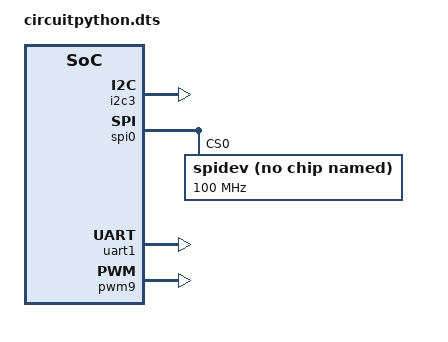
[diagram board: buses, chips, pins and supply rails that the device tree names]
/dts-v1/;
/plugin/;

/ {
	fragment@0 {
		target = <&i2c3>;

		__overlay__ {
			status = "okay";
		};
	};

	fragment@1 {
		target = <&spi0>;

		__overlay__ {
			status = "okay";
			#address-cells = <1>;
			#size-cells = <0>;

			spidev: spidev@0 {
				status = "okay";
				compatible = "rockchip,spidev";
				reg = <0>;
				spi-max-frequency = <100000000>;
			};
		};
	};

	fragment@2 {
		target = <&uart1>;

		__overlay__ {
			status = "okay";
		};
	};

	fragment@3 {
		target = <&pwm9>;

		__overlay__ {
			status = "okay";
		};
	};
};
